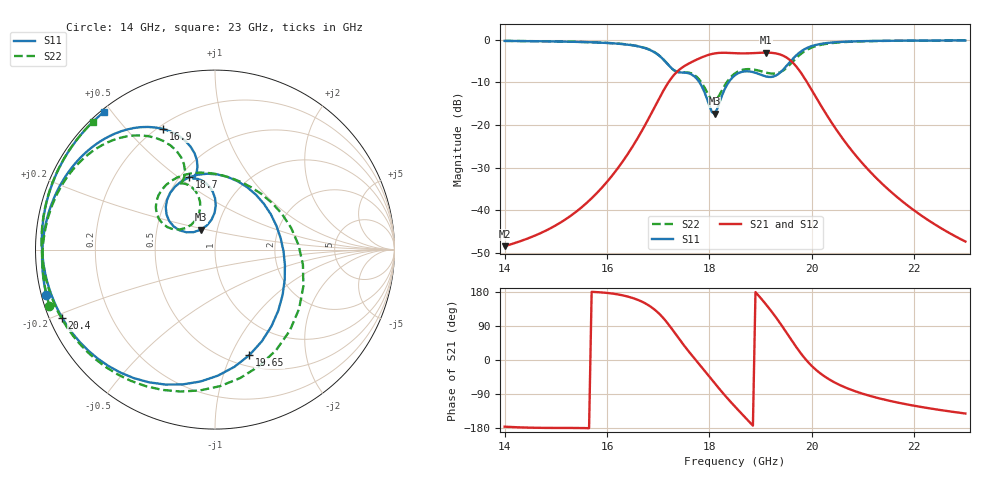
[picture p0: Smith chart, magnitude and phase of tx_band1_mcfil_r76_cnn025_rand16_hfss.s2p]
! Touchstone file exported from HFSS 3D Layout Design 2026.1.0
!  File:  D:/Work/SIM/ADS_AUTO_SIM/projects/RFSOC_RF/TX_Fillter.aedt
!  Generated:  08:23:25 AM Aug 31, 2026
!  Design:  TX_BAND1_MCFIL_R76_CNN025
!  Project:  TX_Fillter
# GHz S MA R 50.000000
! Terminal data exported
! Port[1] = Port1
! Port[2] = Port2
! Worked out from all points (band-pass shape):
!   181 points, 14 GHz to 23 GHz, reference 50 ohm
!   highest |S21| = -2.99 dB at 19.1 GHz (marker M1); lowest = -48.4 dB at 14 GHz (marker M2)
!   |S21| within 3 dB of the highest: 17.53 GHz to 19.68 GHz (2.144 GHz wide, 11.5 % of centre)
!   lowest |S11| = -17.3 dB at 18.1 GHz (marker M3), VSWR 1.32, Z = 41.7 + j9.38 ohm
!   |S11| at or under -10 dB: 17.81 GHz to 18.37 GHz (566.5 MHz wide, 3.13 % of centre)
!   |S22| runs from -14.4 to -0.1 dB; largest |S21 - S12| = 2.2e-14
!   S11 on the Smith chart (normalised r, x): 14 GHz: 0.01, -0.13; 16.9 GHz: 0.22, +0.64; 18.7 GHz: 0.55, +0.55; 19.65 GHz: 0.62, -1.18; 20.4 GHz: 0.04, -0.21; 23 GHz: 0.01, +0.48
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14  0.9729 -164.9  0.003782 -175.9  0.003782 -175.9  0.9739 -161.3
15.5  0.9451 164.3  0.01076 -179.5  0.01076 -179.5  0.9471 169.2
16.3  0.8933 140.8  0.03689 170.8  0.03689 170.8  0.8966 146.8
16.9  0.7309 113.2  0.15 136.1  0.15 136.1  0.734 120.5
17  0.6679 107.8  0.1955 124.6  0.1955 124.6  0.6702 115.4
17.2  0.5082 101.5  0.3174 94.2  0.3174 94.2  0.5071 110.0
17.45  0.4143 107.2  0.4654 48.2  0.4654 48.2  0.415 118.3
17.8  0.3216 92.2  0.6052 -10.9  0.6052 -10.9  0.3432 108.4
18.1  0.1362 125.8  0.6934 -60.6  0.6934 -60.6  0.1914 133.9
18.3  0.2645 150.7  0.7064 -93.0  0.7064 -93.0  0.2929 154.7
18.5  0.3845 134.1  0.6981 -123.0  0.6981 -123.0  0.4046 144.6
18.7  0.4278 109.7  0.6943 -151.6  0.6943 -151.6  0.4517 127.2
18.9  0.4109 80.2  0.7017 179.2  0.7017 179.2  0.4449 107.2
19.1  0.3732 43.0  0.7091 147.6  0.7091 147.6  0.4144 83.4
19.4  0.423 -23.3  0.668 93.4  0.668 93.4  0.4224 28.3
19.65  0.6183 -72.0  0.5248 43.3  0.5248 43.3  0.5731 -35.2
19.85  0.7727 -103.5  0.3616 6.6  0.3616 6.6  0.7294 -78.9
20  0.847 -122.3  0.2571 -15.7  0.2571 -15.7  0.8138 -103.7
20.4  0.9325 -155.9  0.104 -55.9  0.104 -55.9  0.9189 -145.2
20.85  0.9622 -178.6  0.04455 -82.6  0.04455 -82.6  0.9568 -171.1
21.5  0.9771 160.1  0.01741 -107.1  0.01741 -107.1  0.9753 165.9
23  0.9852 128.8  0.004287 -141.2  0.004287 -141.2  0.9849 133.7
